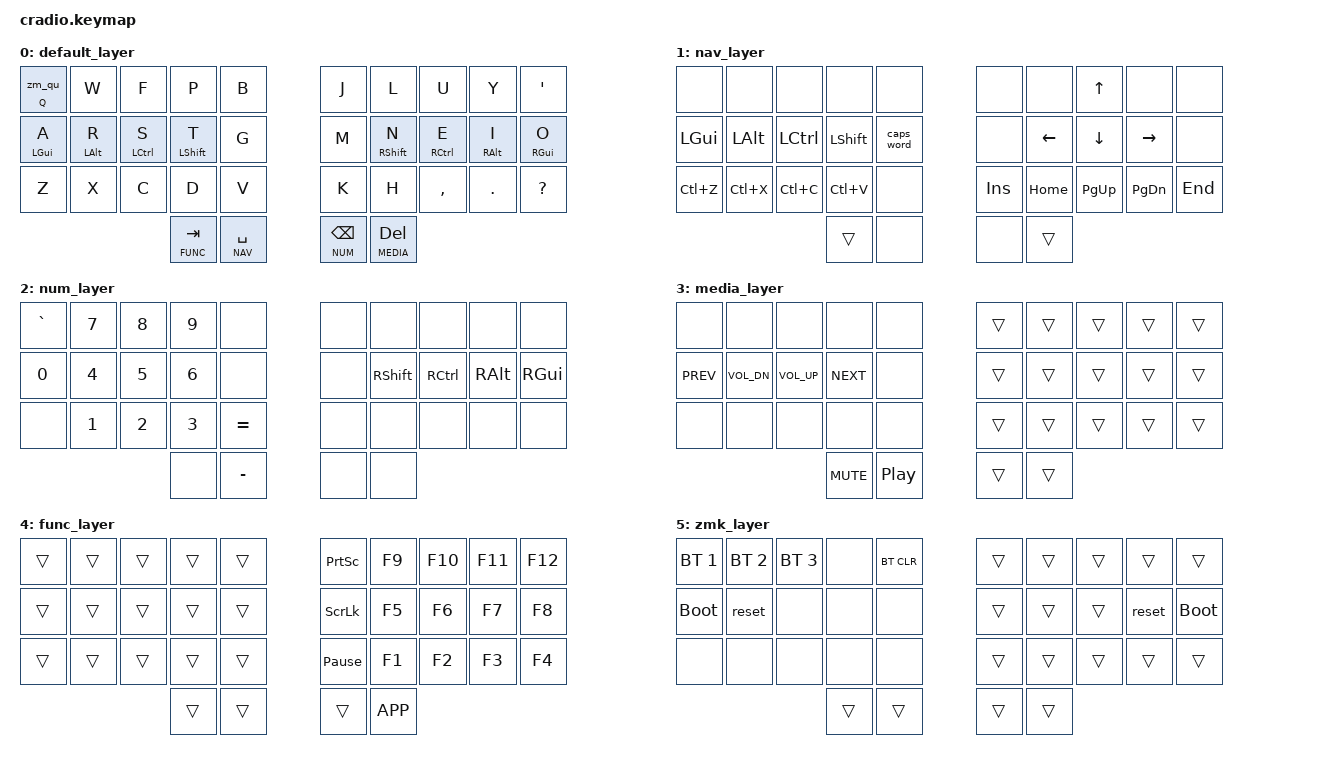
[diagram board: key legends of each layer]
/*
 * Copyright (c) 2020 The ZMK Contributors
 *
 * SPDX-License-Identifier: MIT
 */

#include <behaviors.dtsi>
#include <dt-bindings/zmk/keys.h>
#include <dt-bindings/zmk/bt.h>

#define NAV 1
#define NUM 2
#define MEDIA 3
#define FUNC 4
#define ZMKL 5

&caps_word{
	continue-list = <UNDERSCORE MINUS BACKSPACE>;
};

&mt {
    flavor = "tap-preferred";
    tapping_term_ms = <200>;
};

&sk {
	release-after-ms = <1000>;
};

/ {
	behaviors {
	
		//Allow for repeat space and backspace 
		//after a double-tap
		tlt: thumb_layer_tap {
			compatible = "zmk,behavior-hold-tap";
			label = "THUMB_LAYER_TAP";
			#binding-cells = <2>;
			tapping-term-ms = <200>;
			quick-tap-ms = <175>;
			flavor = "tap-preferred";
			bindings = <&mo>, <&kp>;
		};
		
		//Allow for repeat letters, enable sticky mods
		//for one handed copy pastes mainly
		hm: homerow_mods {
			compatible = "zmk,behavior-hold-tap";
			label = "HOMEROW_MODS";
			#binding-cells = <2>;
			tapping-term-ms = <200>;
			quick-tap-ms = <175>;
			flavor = "tap-preferred";
			bindings = <&kp>, <&kp>;
		};
		
		hmi: homerow_mods_index {
			compatible = "zmk,behavior-hold-tap";
			label = "HOMEROW_MODS_INDEX";
			#binding-cells = <2>;
			tapping-term-ms = <200>;
			quick-tap-ms = <175>;
			flavor = "balanced";
			bindings = <&kp>, <&kp>;
		};

		//Increase tapping term for pinky home position 
		//as they seem most likely to accidentally trigger
		hmp: homerow_mods_pinky {
			compatible = "zmk,behavior-hold-tap";
			label = "HOMEROW_MODS_PINKY";
			#binding-cells = <2>;
			tapping-term-ms = <250>;
			quick-tap-ms = <175>;
			flavor = "tap-preferred";
			bindings = <&kp>, <&kp>;
		};
        
        //Hold tap behaviours to send macros on hold
        brc_t: brace_tap {
            compatible = "zmk,behavior-hold-tap";
            label = "BRACE_TAP";
            #binding-cells = <2>;
            tapping-term-ms = <200>;
            quick-tap-ms = <175>;
            flavor = "tap-preferred";
            bindings = <&zm_brace>, <&kp>;
        };
        
        brk_t: bracket_tap {
            compatible = "zmk,behavior-hold-tap";
            label = "BRACKET_TAP";
            #binding-cells = <2>;
            tapping-term-ms = <200>;
            quick-tap-ms = <175>;
            flavor = "tap-preferred";
            bindings = <&zm_bracket>, <&kp>;
        };
        
        prn_t: paren_tap {
            compatible = "zmk,behavior-hold-tap";
            label = "PAREN_TAP";
            #binding-cells = <2>;
            tapping-term-ms = <200>;
            quick-tap-ms = <175>;
            flavor = "tap-preferred";
            bindings = <&zm_paren>, <&kp>;
        };
		
        ltgt_t: ltgt_tap {
            compatible = "zmk,behavior-hold-tap";
            label = "LTGT_TAP";
            #binding-cells = <2>;
            tapping-term-ms = <200>;
            quick-tap-ms = <175>;
            flavor = "tap-preferred";
            bindings = <&zm_ltgt>, <&kp>;
        };			
        
        qu_t: qu_tap {
            compatible = "zmk,behavior-hold-tap";
            label = "QU_TAP";
            #binding-cells = <2>;
            tapping-term-ms = <300>;
            quick-tap-ms = <175>;
            flavor = "tap-preferred";
            bindings = <&kp>, <&zm_qu>;
        };
	};

	combos {
		#include "combos.dtsi"
	};
    
    macros {         
		#include "macros.dtsi"
    };

    keymap {
        compatible = "zmk,keymap";
                
       	default_layer {
            bindings = <
                &qu_t Q 0       &kp W           &kp F           &kp P           &kp B 					&kp J        	&kp L         	&kp U	       	&kp Y         	&kp QUOT 
                &hmp LGUI A    	&hm LALT R      &hm LCTRL S     &hm LSHIFT T    &kp G 			   		&kp M        	&hm RSHIFT N    &hm RCTRL E     &hm RALT I      &hmp RGUI O
                &kp Z           &kp X           &kp C           &kp D           &kp V				    &kp K       	&kp H           &kp CMMA        &kp DOT         &kp QUESTION
																&lt FUNC TAB    &tlt NAV SPC  			&tlt NUM BSPC   &lt MEDIA DEL
            >;
		};
        
       	nav_layer {
            bindings = <
                &none           &none           &none      	    &none           &none		           	&none           &none           &kp UP_ARROW    &none           &none 
                &kp LGUI        &kp LALT        &kp LCTRL       &kp LSHIFT 		&caps_word 		        &none           &kp LEFT_ARROW  &kp DOWN_ARROW  &kp RIGHT_ARROW &none
                &kp LC(Z)       &kp LC(X)       &kp LC(C)       &kp LC(V)       &none 	                &kp INSERT      &kp HOME        &kp PG_UP       &kp PG_DN       &kp END			
																&trans          &none 					&none       	&trans 
		>;
		};
		
		num_layer {
            bindings = <
                &kp GRAVE		&kp N7        	&kp N8        	&kp N9        	&none    			    &none           &none           &none          &none           &none 
                &kp N0    	    &kp N4        	&kp N5        	&kp N6        	&none			        &none           &kp RSHIFT      &kp RCTRL      &kp RALT        &kp RGUI
                &none       	&kp N1        	&kp N2        	&kp N3        	&kp EQUAL				&none           &none           &none          &none           &none
																&none        	&kp MINUS  				&none        	&none 
		>;
		};	
		
		media_layer {
            bindings = <
                &none      		&none        	&none           &none             &none  				&trans          &trans          &trans        &trans        &trans
                &kp C_PREV      &kp C_VOL_DN    &kp C_VOL_UP    &kp C_NEXT        &none  	    		&trans          &trans          &trans        &trans        &trans 
                &none           &none           &none           &none             &none   				&trans          &trans          &trans        &trans        &trans   
                                                                &kp C_MUTE        &kp C_PLAY_PAUSE  	&trans          &trans 
		>;
		};	
        
        func_layer {
            bindings = <
                &trans        	&trans        	&trans        	&trans        &trans    			    &kp PSCRN           &kp F9      &kp F10       &kp F11       &kp F12 
                &trans        	&trans        	&trans        	&trans        &trans 			        &kp SLCK            &kp F5      &kp F6        &kp F7        &kp F8
                &trans        	&trans        	&trans        	&trans        &trans    			    &kp PAUSE_BREAK     &kp F1      &kp F2        &kp F3        &kp F4
																&trans        &trans  					&trans              &kp K_APP 
		>;
		};

		zmk_layer {
            bindings = <
                &bt BT_SEL 1    &bt BT_SEL 2    &bt BT_SEL 3    &none           &bt BT_CLR  			&trans          &trans          &trans        &trans        &trans
                &bootloader     &reset			&none    		&none      		&none  	        		&trans          &trans          &trans        &reset        &bootloader 
                &none           &none           &none           &none           &none   				&trans          &trans          &trans        &trans        &trans   
                                                                &trans  		&trans  				&trans          &trans 
		>;
		};	     
	};
};
